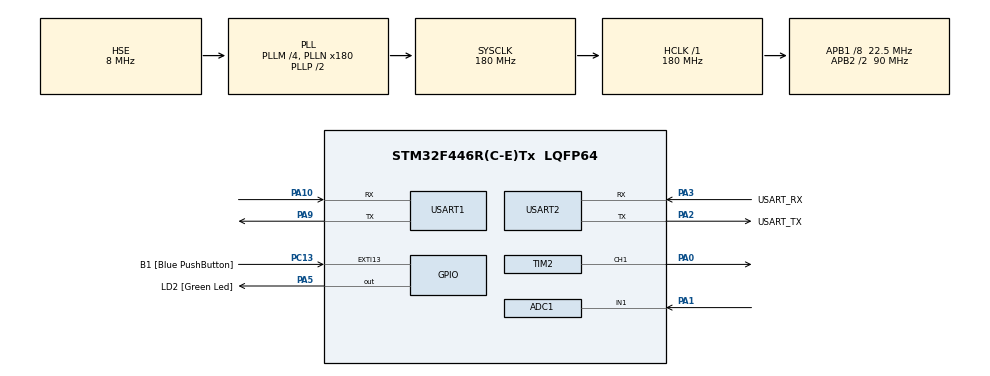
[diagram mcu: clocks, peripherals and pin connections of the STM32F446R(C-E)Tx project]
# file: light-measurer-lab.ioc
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ADC1.Channel-0\#ChannelRegularConversion=ADC_CHANNEL_1
ADC1.NbrOfConversionFlag=1
ADC1.Rank-0\#ChannelRegularConversion=1
ADC1.SamplingTime-0\#ChannelRegularConversion=ADC_SAMPLETIME_3CYCLES
ADC1.master=1
FREERTOS.Queues01=controlQueue,16,uint16_t,0,Dynamic,NULL,NULL
FREERTOS.Tasks01=servoTask,2,128,StartServoTask,Default,NULL,Dynamic,NULL,NULL;controlTask,0,128,StartControlTask,Default,NULL,Dynamic,NULL,NULL
Mcu.Family=STM32F4
Mcu.Name=STM32F446R(C-E)Tx
Mcu.Package=LQFP64
NVIC.PriorityGroup=NVIC_PRIORITYGROUP_4
NVIC.TIM2_IRQn=true\:5\:0\:false\:false\:true\:true\:true\:true\:true
PA0-WKUP.Signal=S_TIM2_CH1_ETR
PA1.Signal=ADCx_IN1
PA10.Mode=Asynchronous
PA10.Signal=USART1_RX
PA13.GPIO_Label=TMS
PA13.Mode=Serial_Wire
PA13.Signal=SYS_JTMS-SWDIO
PA14.GPIO_Label=TCK
PA14.Mode=Serial_Wire
PA14.Signal=SYS_JTCK-SWCLK
PA2.GPIO_Label=USART_TX
PA2.Mode=Asynchronous
PA2.Signal=USART2_TX
PA3.GPIO_Label=USART_RX
PA3.Mode=Asynchronous
PA3.Signal=USART2_RX
PA5.GPIO_Label=LD2 [Green Led]
PA5.Signal=GPIO_Output
PA9.Mode=Asynchronous
PA9.Signal=USART1_TX
PB3.GPIO_Label=SWO
PB3.Signal=SYS_JTDO-SWO
PC13.GPIO_Label=B1 [Blue PushButton]
PC13.GPIO_ModeDefaultEXTI=GPIO_MODE_IT_FALLING
PC13.Signal=GPXTI13
PC14-OSC32_IN.Mode=LSE-External-Oscillator
PC14-OSC32_IN.Signal=RCC_OSC32_IN
PC15-OSC32_OUT.Mode=LSE-External-Oscillator
PC15-OSC32_OUT.Signal=RCC_OSC32_OUT
PH0-OSC_IN.Mode=HSE-External-Oscillator
PH0-OSC_IN.Signal=RCC_OSC_IN
PH1-OSC_OUT.Mode=HSE-External-Oscillator
PH1-OSC_OUT.Signal=RCC_OSC_OUT
ProjectManager.HeapSize=0x200
ProjectManager.StackSize=0x400
ProjectManager.TargetToolchain=STM32CubeIDE
RCC.48MHZClocksFreq_Value=84000000
RCC.AHBFreq_Value=180000000
RCC.APB1CLKDivider=RCC_HCLK_DIV8
RCC.APB1Freq_Value=22500000
RCC.APB1TimFreq_Value=45000000
RCC.APB2CLKDivider=RCC_HCLK_DIV2
RCC.APB2Freq_Value=90000000
RCC.APB2TimFreq_Value=180000000
RCC.CortexFreq_Value=180000000
RCC.FLatency-AdvancedSettings=FLASH_LATENCY_5
RCC.HCLKFreq_Value=180000000
RCC.HSE_VALUE=8000000
RCC.HSI_VALUE=16000000
RCC.PLLM=4
RCC.PLLN=180
RCC.PLLSourceVirtual=RCC_PLLSOURCE_HSE
RCC.SYSCLKFreq_VALUE=180000000
RCC.SYSCLKSource=RCC_SYSCLKSOURCE_PLLCLK
RCC.USBFreq_Value=180000000
RCC.VCOOutputFreq_Value=360000000
SH.ADCx_IN1.0=ADC1_IN1,IN1
SH.S_TIM2_CH1_ETR.0=TIM2_CH1,PWM Generation1 CH1
TIM2.Channel-PWM\ Generation1\ CH1=TIM_CHANNEL_1
TIM2.Period=1000-1
TIM2.Prescaler=900-1
USART1.VirtualMode=VM_ASYNC
USART2.VirtualMode=VM_ASYNC
VP_FREERTOS_VS_CMSIS_V1.Mode=CMSIS_V1
VP_TIM2_VS_ClockSourceINT.Mode=Internal
board=NUCLEO-F446RE

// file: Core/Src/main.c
/* USER CODE BEGIN Header */
/**
  ******************************************************************************
  * @file           : main.c
  * @brief          : Main program body
  ******************************************************************************
  * @attention
  *
  * Copyright (c) 2024 STMicroelectronics.
  * All rights reserved.
  *
  * This software is licensed under terms that can be found in the LICENSE file
  * in the root directory of this software component.
  * If no LICENSE file comes with this software, it is provided AS-IS.
  *
  ******************************************************************************
  */
/* USER CODE END Header */
#include "main.h"
#include "cmsis_os.h"

/* USER CODE BEGIN Includes */
#include <stdio.h>
#include <string.h>
/* USER CODE END Includes */

ADC_HandleTypeDef hadc1;

TIM_HandleTypeDef htim2;

UART_HandleTypeDef huart1;
UART_HandleTypeDef huart2;

osThreadId servoTaskHandle;
osThreadId controlTaskHandle;
osMessageQId controlQueueHandle;

void SystemClock_Config(void);
static void MX_GPIO_Init(void);
static void MX_USART2_UART_Init(void);
static void MX_USART1_UART_Init(void);
static void MX_TIM2_Init(void);
static void MX_ADC1_Init(void);
void StartServoTask(void const * argument);
void StartControlTask(void const * argument);

/* USER CODE BEGIN PFP */

void rotateServo(int angle);
int lightPercent(int lux);

/* USER CODE END PFP */

int main(void)
{

  /* MCU Configuration--------------------------------------------------------*/

  /* Reset of all peripherals, Initializes the Flash interface and the Systick. */
  HAL_Init();

  /* Configure the system clock */
  SystemClock_Config();

  /* Initialize all configured peripherals */
  MX_GPIO_Init();
  MX_USART2_UART_Init();
  MX_USART1_UART_Init();
  MX_TIM2_Init();
  MX_ADC1_Init();
  /* USER CODE BEGIN 2 */

    HAL_TIM_PWM_Start(&htim2, TIM_CHANNEL_1);

  /* USER CODE END 2 */

  /* Create the queue(s) */
  /* definition and creation of controlQueue */
  osMessageQDef(controlQueue, 16, uint16_t);
  controlQueueHandle = osMessageCreate(osMessageQ(controlQueue), NULL);

  /* Create the thread(s) */
  /* definition and creation of servoTask */
  osThreadDef(servoTask, StartServoTask, osPriorityHigh, 0, 128);
  servoTaskHandle = osThreadCreate(osThread(servoTask), NULL);

  /* definition and creation of controlTask */
  osThreadDef(controlTask, StartControlTask, osPriorityNormal, 0, 128);
  controlTaskHandle = osThreadCreate(osThread(controlTask), NULL);

  /* Start scheduler */
  osKernelStart();

  /* We should never get here as control is now taken by the scheduler */

  /* Infinite loop */
    while (1) {

    }
}

void SystemClock_Config(void)
{
  RCC_OscInitTypeDef RCC_OscInitStruct = {0};
  RCC_ClkInitTypeDef RCC_ClkInitStruct = {0};

  /** Configure the main internal regulator output voltage
  */
  __HAL_RCC_PWR_CLK_ENABLE();
  __HAL_PWR_VOLTAGESCALING_CONFIG(PWR_REGULATOR_VOLTAGE_SCALE1);

  /** Initializes the RCC Oscillators according to the specified parameters
  * in the RCC_OscInitTypeDef structure.
  */
  RCC_OscInitStruct.OscillatorType = RCC_OSCILLATORTYPE_HSE;
  RCC_OscInitStruct.HSEState = RCC_HSE_ON;
  RCC_OscInitStruct.PLL.PLLState = RCC_PLL_ON;
  RCC_OscInitStruct.PLL.PLLSource = RCC_PLLSOURCE_HSE;
  RCC_OscInitStruct.PLL.PLLM = 4;
  RCC_OscInitStruct.PLL.PLLN = 180;
  RCC_OscInitStruct.PLL.PLLP = RCC_PLLP_DIV2;
  RCC_OscInitStruct.PLL.PLLQ = 2;
  RCC_OscInitStruct.PLL.PLLR = 2;
  if (HAL_RCC_OscConfig(&RCC_OscInitStruct) != HAL_OK)
  {
    Error_Handler();
  }

  /** Activate the Over-Drive mode
  */
  if (HAL_PWREx_EnableOverDrive() != HAL_OK)
  {
    Error_Handler();
  }

  /** Initializes the CPU, AHB and APB buses clocks
  */
  RCC_ClkInitStruct.ClockType = RCC_CLOCKTYPE_HCLK|RCC_CLOCKTYPE_SYSCLK
                              |RCC_CLOCKTYPE_PCLK1|RCC_CLOCKTYPE_PCLK2;
  RCC_ClkInitStruct.SYSCLKSource = RCC_SYSCLKSOURCE_PLLCLK;
  RCC_ClkInitStruct.AHBCLKDivider = RCC_SYSCLK_DIV1;
  RCC_ClkInitStruct.APB1CLKDivider = RCC_HCLK_DIV8;
  RCC_ClkInitStruct.APB2CLKDivider = RCC_HCLK_DIV2;

  if (HAL_RCC_ClockConfig(&RCC_ClkInitStruct, FLASH_LATENCY_5) != HAL_OK)
  {
    Error_Handler();
  }
}

static void MX_ADC1_Init(void)
{

  ADC_ChannelConfTypeDef sConfig = {0};

  /** Configure the global features of the ADC (Clock, Resolution, Data Alignment and number of conversion)
  */
  hadc1.Instance = ADC1;
  hadc1.Init.ClockPrescaler = ADC_CLOCK_SYNC_PCLK_DIV4;
  hadc1.Init.Resolution = ADC_RESOLUTION_12B;
  hadc1.Init.ScanConvMode = DISABLE;
  hadc1.Init.ContinuousConvMode = DISABLE;
  hadc1.Init.DiscontinuousConvMode = DISABLE;
  hadc1.Init.ExternalTrigConvEdge = ADC_EXTERNALTRIGCONVEDGE_NONE;
  hadc1.Init.ExternalTrigConv = ADC_SOFTWARE_START;
  hadc1.Init.DataAlign = ADC_DATAALIGN_RIGHT;
  hadc1.Init.NbrOfConversion = 1;
  hadc1.Init.DMAContinuousRequests = DISABLE;
  hadc1.Init.EOCSelection = ADC_EOC_SINGLE_CONV;
  if (HAL_ADC_Init(&hadc1) != HAL_OK)
  {
    Error_Handler();
  }

  /** Configure for the selected ADC regular channel its corresponding rank in the sequencer and its sample time.
  */
  sConfig.Channel = ADC_CHANNEL_1;
  sConfig.Rank = 1;
  sConfig.SamplingTime = ADC_SAMPLETIME_3CYCLES;
  if (HAL_ADC_ConfigChannel(&hadc1, &sConfig) != HAL_OK)
  {
    Error_Handler();
  }

}

static void MX_TIM2_Init(void)
{

  TIM_ClockConfigTypeDef sClockSourceConfig = {0};
  TIM_MasterConfigTypeDef sMasterConfig = {0};
  TIM_OC_InitTypeDef sConfigOC = {0};

  htim2.Instance = TIM2;
  htim2.Init.Prescaler = 900-1;
  htim2.Init.CounterMode = TIM_COUNTERMODE_UP;
  htim2.Init.Period = 1000-1;
  htim2.Init.ClockDivision = TIM_CLOCKDIVISION_DIV1;
  htim2.Init.AutoReloadPreload = TIM_AUTORELOAD_PRELOAD_DISABLE;
  if (HAL_TIM_Base_Init(&htim2) != HAL_OK)
  {
    Error_Handler();
  }
  sClockSourceConfig.ClockSource = TIM_CLOCKSOURCE_INTERNAL;
  if (HAL_TIM_ConfigClockSource(&htim2, &sClockSourceConfig) != HAL_OK)
  {
    Error_Handler();
  }
  if (HAL_TIM_PWM_Init(&htim2) != HAL_OK)
  {
    Error_Handler();
  }
  sMasterConfig.MasterOutputTrigger = TIM_TRGO_RESET;
  sMasterConfig.MasterSlaveMode = TIM_MASTERSLAVEMODE_DISABLE;
  if (HAL_TIMEx_MasterConfigSynchronization(&htim2, &sMasterConfig) != HAL_OK)
  {
    Error_Handler();
  }
  sConfigOC.OCMode = TIM_OCMODE_PWM1;
  sConfigOC.Pulse = 0;
  sConfigOC.OCPolarity = TIM_OCPOLARITY_HIGH;
  sConfigOC.OCFastMode = TIM_OCFAST_DISABLE;
  if (HAL_TIM_PWM_ConfigChannel(&htim2, &sConfigOC, TIM_CHANNEL_1) != HAL_OK)
  {
    Error_Handler();
  }
  HAL_TIM_MspPostInit(&htim2);

}

static void MX_USART1_UART_Init(void)
{

  huart1.Instance = USART1;
  huart1.Init.BaudRate = 115200;
  huart1.Init.WordLength = UART_WORDLENGTH_8B;
  huart1.Init.StopBits = UART_STOPBITS_1;
  huart1.Init.Parity = UART_PARITY_NONE;
  huart1.Init.Mode = UART_MODE_TX_RX;
  huart1.Init.HwFlowCtl = UART_HWCONTROL_NONE;
  huart1.Init.OverSampling = UART_OVERSAMPLING_16;
  if (HAL_UART_Init(&huart1) != HAL_OK)
  {
    Error_Handler();
  }

}

static void MX_USART2_UART_Init(void)
{

  huart2.Instance = USART2;
  huart2.Init.BaudRate = 115200;
  huart2.Init.WordLength = UART_WORDLENGTH_8B;
  huart2.Init.StopBits = UART_STOPBITS_1;
  huart2.Init.Parity = UART_PARITY_NONE;
  huart2.Init.Mode = UART_MODE_TX_RX;
  huart2.Init.HwFlowCtl = UART_HWCONTROL_NONE;
  huart2.Init.OverSampling = UART_OVERSAMPLING_16;
  if (HAL_UART_Init(&huart2) != HAL_OK)
  {
    Error_Handler();
  }

}

static void MX_GPIO_Init(void)
{
  GPIO_InitTypeDef GPIO_InitStruct = {0};

  /* GPIO Ports Clock Enable */
  __HAL_RCC_GPIOC_CLK_ENABLE();
  __HAL_RCC_GPIOH_CLK_ENABLE();
  __HAL_RCC_GPIOA_CLK_ENABLE();
  __HAL_RCC_GPIOB_CLK_ENABLE();

  /*Configure GPIO pin Output Level */
  HAL_GPIO_WritePin(LD2_GPIO_Port, LD2_Pin, GPIO_PIN_RESET);

  /*Configure GPIO pin : B1_Pin */
  GPIO_InitStruct.Pin = B1_Pin;
  GPIO_InitStruct.Mode = GPIO_MODE_IT_FALLING;
  GPIO_InitStruct.Pull = GPIO_NOPULL;
  HAL_GPIO_Init(B1_GPIO_Port, &GPIO_InitStruct);

  /*Configure GPIO pin : LD2_Pin */
  GPIO_InitStruct.Pin = LD2_Pin;
  GPIO_InitStruct.Mode = GPIO_MODE_OUTPUT_PP;
  GPIO_InitStruct.Pull = GPIO_NOPULL;
  GPIO_InitStruct.Speed = GPIO_SPEED_FREQ_LOW;
  HAL_GPIO_Init(LD2_GPIO_Port, &GPIO_InitStruct);

}

/* USER CODE BEGIN 4 */

void rotateServo(int angle) {
    double degreesInOneStep = 180.0 / (125 - 25);

    int value = (int) (angle / degreesInOneStep) + 25;

    htim2.Instance->CCR1 = value;
}

int lightPercent(int lux) {
    int min = 100;
    int max = 3072;

    int delta = max - min;

    int minCappedLux = lux < min ? min : lux;
    int cappedLux = minCappedLux > max ? max : minCappedLux;

    double result = ((cappedLux - min) / (double) delta) * 100;

    return (int) result;
}

/* USER CODE END 4 */

void StartServoTask(void const * argument)
{
  /* USER CODE BEGIN 5 */
    osEvent currLuxEvent;
    char msg[20] = {'\0'};

    /* Infinite loop */
    for (;;) {
        currLuxEvent = osMessageGet(controlQueueHandle, osWaitForever);

        if (currLuxEvent.status == osEventMessage) {
            int currLux = (int) currLuxEvent.value.v;

            int percentLux = lightPercent(currLux);

            int angle = (int) (percentLux * 1.8);

            sprintf(msg, "Light: %d, percent: %d, angle: %d \r\n", currLux, percentLux, angle);

            HAL_UART_Transmit(&huart1, (uint8_t *) msg, strlen(msg), HAL_MAX_DELAY);

            rotateServo(angle);
        }
    }
  /* USER CODE END 5 */
}

void StartControlTask(void const * argument)
{
  /* USER CODE BEGIN StartControlTask */

    char msg[20] = {'\0'};
    /* Infinite loop */
    for (;;) {
        HAL_ADC_Start(&hadc1);
        HAL_ADC_PollForConversion(&hadc1, 20);
        unsigned long lux = HAL_ADC_GetValue(&hadc1);

        sprintf(msg, "Light: %lu \r\n", lux);

        HAL_UART_Transmit(&huart1, (uint8_t *) msg, strlen(msg), HAL_MAX_DELAY);

        osMessagePut(controlQueueHandle, lux, osWaitForever);

        osDelay(500);
    }
  /* USER CODE END StartControlTask */
}

void Error_Handler(void)
{
    __disable_irq();
    while (1) {
    }
}
